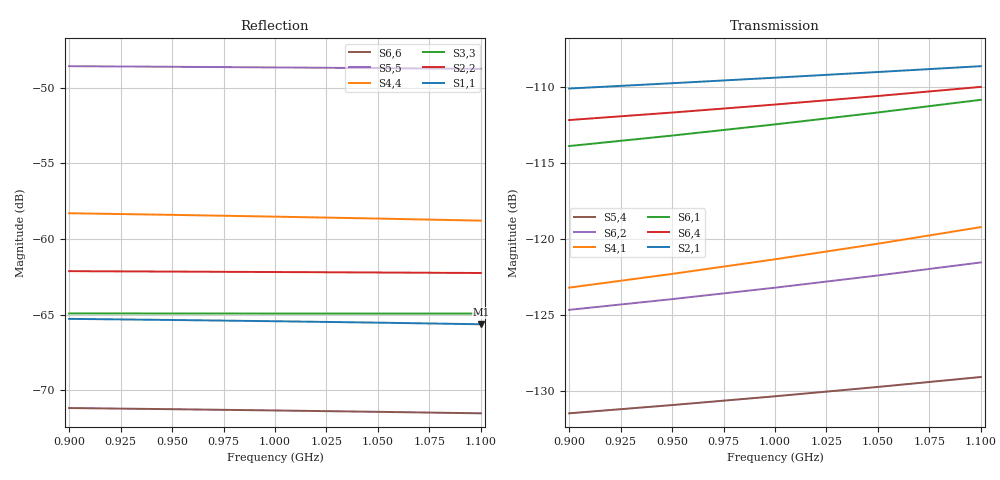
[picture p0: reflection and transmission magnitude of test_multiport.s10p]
! Touchstone file from project test_multiport
! Exported from HFSS 2019.2.0
!Data is not renormalized
# GHZ S MA
! Modal data exported
! Port[1] = 1:1
! Port[2] = 2:1
! Port[3] = 3:1
! Port[4] = 4:1
! Port[5] = 5:1
! Port[6] = 6:1
! Port[7] = 7:1
! Port[8] = 8:1
! Port[9] = 9:1
! Port[10] = 10:1
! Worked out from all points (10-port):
!   5 points, 900 MHz to 1.1 GHz, reference per port
!   strongest paths, dB at 900 MHz, 950 MHz, 1 GHz, 1.05 GHz, 1.1 GHz:
!     S2,1: -110.1, -109.8, -109.4, -109.0, -108.7
!     S6,4: -112.2, -111.7, -111.2, -110.6, -110.0
!     S6,1: -113.9, -113.2, -112.5, -111.7, -110.9
!     S4,1: -123.2, -122.3, -121.4, -120.3, -119.2
!     S6,2: -124.7, -124.0, -123.2, -122.4, -121.6
!     S5,4: -131.5, -130.9, -130.4, -129.8, -129.1
!   lowest |S11| = -65.6 dB at 1.1 GHz (marker M1), VSWR 1.00
!   |S11| at or under -10 dB: start of sweep to end of sweep
